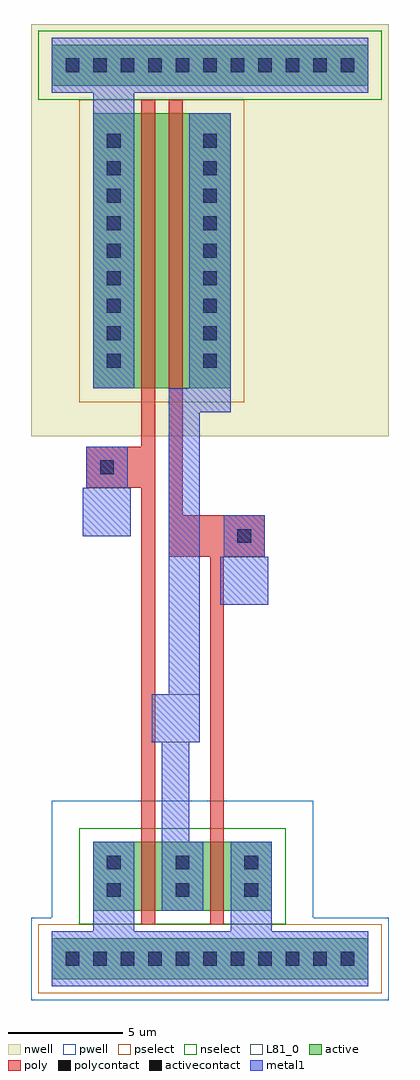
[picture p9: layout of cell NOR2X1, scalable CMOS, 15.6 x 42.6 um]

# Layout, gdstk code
import gdstk
lib = gdstk.Library(unit=1e-6, precision=1e-09)
def R(c, l, rs):  # rectangles x0, y0, x1, y1
    for r in rs: c.add(gdstk.rectangle(r[:2], r[2:], *l))
def A(c, l, x, y, w, h, nx, ny, dx, dy):  # array of equal rectangles
    R(c, l, [(x+i*dx, y+j*dy, x+i*dx+w, y+j*dy+h) for i in range(nx) for j in range(ny)])
pwell = (41, 0)
nwell = (42, 0)
active = (43, 0)
pselect = (44, 0)
nselect = (45, 0)
poly = (46, 0)
polycontact = (47, 0)
activecontact = (48, 0)
metal1 = (49, 0)
L81_0 = (81, 0)

nor2x1 = lib.new_cell('NOR2X1')
R(nor2x1, pwell, [(-1.8,-1.8,13.8,1.8), (-0.9,1.8,10.5,6.9)])
R(nor2x1, nwell, [(-1.8,22.8,13.8,40.8)])
R(nor2x1, active, [(-0.9,-0.9,12.9,0.9), (0.9,2.1,8.7,5.1), (0.9,24.9,6.9,36.9), (-0.9,38.1,12.9,39.9)])
R(nor2x1, pselect, [(-1.5,-1.5,13.5,1.5), (0.3,24.3,7.5,37.5)])
R(nor2x1, nselect, [(0.3,1.5,9.3,5.7), (-1.5,37.5,13.5,40.5)])
R(nor2x1, poly, [(3,1.5,3.6,20.55), (6,1.5,6.6,17.55), (4.2,17.55,8.4,19.35), (4.2,19.35,4.8,37.5), (0.6,20.55,3.6,22.35), (3,22.35,3.6,37.5)])
R(nor2x1, polycontact, [(7.2,18.15,7.8,18.75), (1.2,21.15,1.8,21.75)])
A(nor2x1, activecontact, -0.3, -0.3, 0.6, 0.6, 11, 2, 1.2, 39)
A(nor2x1, activecontact, 1.5, 2.7, 0.6, 0.6, 3, 2, 3, 1.2)
A(nor2x1, activecontact, 1.5, 25.8, 0.6, 0.6, 1, 9, 0, 1.2)
A(nor2x1, activecontact, 5.7, 25.8, 0.6, 0.6, 1, 9, 0, 1.2)
R(nor2x1, metal1, [(-0.9,-1.2,12.9,1.2), (0.9,1.2,2.7,5.1), (6.9,1.2,8.7,5.1), (3.9,2.1,5.7,5.1), (3.9,5.1,5.1,9.45), (3.45,9.45,5.55,11.55), (4.2,11.55,5.55,23.85), (6.45,15.45,8.55,17.55), (6.6,17.55,8.4,19.35), (0.45,18.45,2.55,20.55), (0.6,20.55,2.4,22.35), (4.2,23.85,6.9,24.9), (0.9,24.9,2.7,37.8), (5.1,24.9,6.9,36.9), (-0.9,37.8,12.9,40.2)])
R(nor2x1, L81_0, [(3.45,9.45,5.55,11.55), (6.45,15.45,8.55,17.55), (0.45,18.45,2.55,20.55)])

lib.write_gds('NOR2X1.gds')
